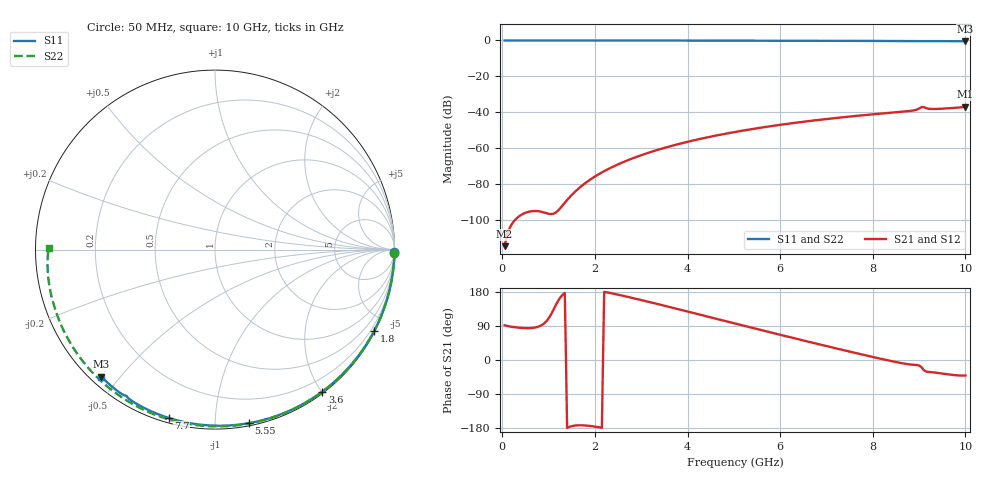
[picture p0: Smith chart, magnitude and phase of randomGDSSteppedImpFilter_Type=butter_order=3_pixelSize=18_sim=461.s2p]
! freq	dB(S11)	phase(S11)	dB(S12)	phase(S12)
!  dB(S21)	phase(S21)	dB(S22)	phase(S22)
!S-par simulation data
#  GHz  S  DB  R 50
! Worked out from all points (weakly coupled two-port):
!   200 points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, 50 MHz to 10 GHz, reference 50 ohm
!   highest |S21| = -36.85 dB at 10 GHz (marker M1); lowest = -114.3 dB at 50 MHz (marker M2)
!   lowest |S11| = -0.4 dB at 10 GHz (marker M3), VSWR 39.09, Z = 1.54 - j22.4 ohm
!   |S11| at or under -10 dB: nowhere
!   |S22| runs from -0.7 to 0.0 dB; largest |S21 - S12| = 0
!   S11 on the Smith chart (normalised r, x): 50 MHz: open; 1.8 GHz: 0.04, -4.15; 3.6 GHz: 0.02, -2.01; 5.55 GHz: 0.02, -1.21; 7.7 GHz: 0.02, -0.76; 10 GHz: 0.03, -0.45
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0.05  -0.00 -0.8  -114.26 91.5  -114.26 91.5  -0.00 -1.0
0.85  -0.02 -12.9  -95.19 92.0  -95.19 92.0  -0.02 -17.4
1.75  -0.03 -26.3  -80.05 -172.4  -80.05 -172.4  -0.05 -35.5
1.8  -0.03 -27.1  -79.07 -172.9  -79.07 -172.9  -0.05 -36.5
2.1  -0.04 -31.5  -74.03 -177.8  -74.03 -177.8  -0.05 -42.4
2.5  -0.05 -37.3  -68.81 172.4  -68.81 172.4  -0.06 -50.1
2.9  -0.06 -43.0  -64.65 161.2  -64.65 161.2  -0.07 -57.7
3.4  -0.07 -50.1  -60.42 146.3  -60.42 146.3  -0.09 -67.1
3.6  -0.07 -52.9  -58.94 140.2  -58.94 140.2  -0.09 -70.7
4.3  -0.09 -62.5  -54.52 118.7  -54.52 118.7  -0.12 -83.3
5.05  -0.11 -72.5  -50.72 95.6  -50.72 95.6  -0.15 -96.4
5.55  -0.13 -79.0  -48.58 80.2  -48.58 80.2  -0.17 -104.8
6.1  -0.15 -86.0  -46.51 63.6  -46.51 63.6  -0.20 -114.0
6.7  -0.18 -93.4  -44.53 45.6  -44.53 45.6  -0.24 -123.8
7.7  -0.24 -105.4  -41.76 16.4  -41.76 16.4  -0.32 -140.1
8.35  -0.29 -113.1  -40.24 -1.5  -40.24 -1.5  -0.38 -150.7
8.85  -0.34 -118.9  -39.01 -12.4  -39.01 -12.4  -0.44 -159.1
8.95  -0.36 -120.1  -38.43 -13.3  -38.43 -13.3  -0.45 -160.7
9.05  -0.42 -121.1  -37.06 -18.9  -37.06 -18.9  -0.46 -162.4
9.2  -0.38 -122.5  -37.90 -31.4  -37.90 -31.4  -0.47 -165.1
9.3  -0.38 -123.8  -38.07 -32.5  -38.07 -32.5  -0.49 -166.8
10  -0.44 -131.8  -36.85 -40.8  -36.85 -40.8  -0.67 179.5
